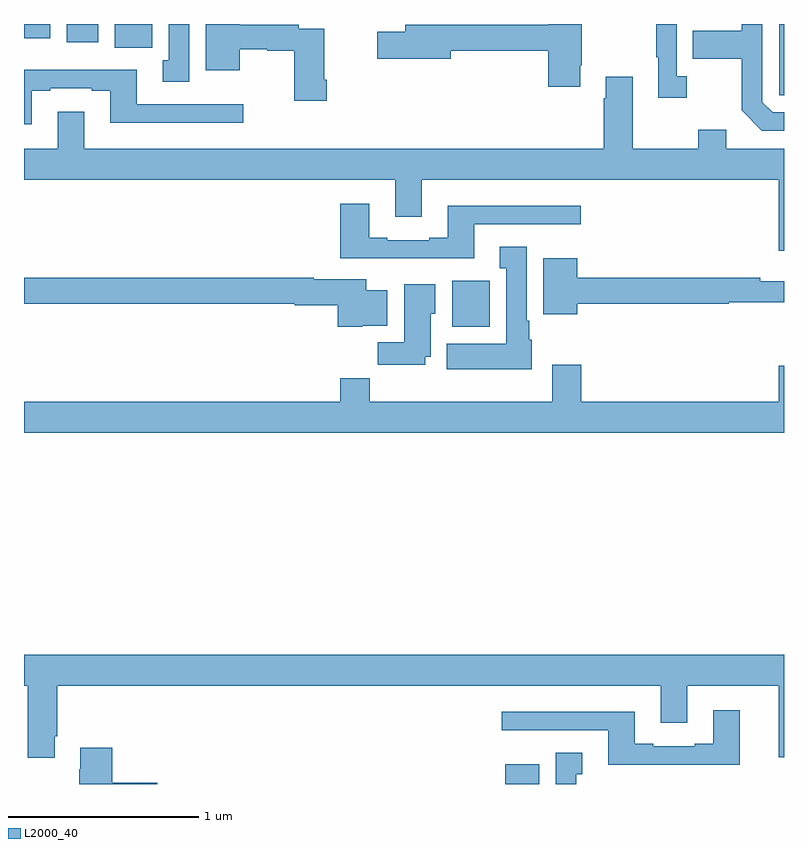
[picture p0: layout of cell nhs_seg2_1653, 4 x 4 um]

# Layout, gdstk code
import gdstk
lib = gdstk.Library(unit=1e-6, precision=1e-09)
def R(c, l, rs):  # rectangles x0, y0, x1, y1
    for r in rs: c.add(gdstk.rectangle(r[:2], r[2:], *l))
def P(c, l, *ps):  # polygons
    for p in ps: c.add(gdstk.Polygon(p, *l))
L2000_40 = (2000, 40)

nhs_seg2_1653 = lib.new_cell('nhs_seg2_1653')
R(nhs_seg2_1653, L2000_40, [(199.532,633.8,199.711,633.904), (199.253,636.206,199.45,636.448), (200.976,637.425,201,637.8), (197.477,637.676,197.674,637.8), (197.225,637.704,197.392,637.8), (197,637.724,197.137,637.8)])
P(nhs_seg2_1653, L2000_40, [(201,637.335),(200.94,637.335),(200.886,637.389),(200.886,637.8),(200.778,637.8),(200.778,637.765),(200.521,637.765),(200.521,637.618),(200.778,637.618),(200.778,637.345),(200.883,637.239),(201,637.239)],
  [(197.869,637.8),(197.762,637.8),(197.762,637.61),(197.729,637.61),(197.729,637.497),(197.869,637.497)],
  [(198.593,637.507),(198.58,637.507),(198.58,637.776),(198.446,637.776),(198.446,637.796),(198.136,637.796),(198.136,637.8),(197.957,637.8),(197.957,637.556),(198.136,637.556),(198.136,637.668),(198.279,637.668),(198.279,637.66),(198.422,637.66),(198.422,637.395),(198.593,637.395)],
  [(199.927,637.582),(199.935,637.582),(199.935,637.8),(199.76,637.8),(199.76,637.796),(199.007,637.796),(199.007,637.76),(198.858,637.76),(198.858,637.618),(199.246,637.618),(199.246,637.66),(199.76,637.66),(199.76,637.47),(199.927,637.47)],
  [(200.488,637.526),(200.436,637.526),(200.436,637.8),(200.328,637.8),(200.328,637.625),(200.339,637.625),(200.339,637.413),(200.488,637.413)],
  [(197.041,637.449),(197.137,637.449),(197.137,637.461),(197.357,637.461),(197.357,637.449),(197.453,637.449),(197.453,637.28),(198.154,637.28),(198.154,637.377),(197.593,637.377),(197.593,637.558),(197,637.558),(197,637.272),(197.041,637.272)],
  [(201,637.144),(200.695,637.144),(200.695,637.243),(200.548,637.243),(200.548,637.144),(200.203,637.144),(200.203,637.522),(200.063,637.522),(200.063,637.409),(200.051,637.409),(200.051,637.144),(197.317,637.144),(197.317,637.339),(197.177,637.339),(197.177,637.144),(197,637.144),(197,636.98),(198.953,636.98),(198.953,636.786),(199.093,636.786),(199.093,636.98),(200.972,636.98),(200.972,636.606),(201,636.606)],
  [(199.369,636.747),(199.93,636.747),(199.93,636.844),(199.229,636.844),(199.229,636.676),(199.133,636.676),(199.133,636.663),(198.913,636.663),(198.913,636.676),(198.817,636.676),(198.817,636.853),(198.665,636.853),(198.665,636.566),(199.369,636.566)],
  [(199.672,636.138),(199.66,636.138),(199.66,636.238),(199.645,636.238),(199.645,636.628),(199.505,636.628),(199.505,636.515),(199.538,636.515),(199.538,636.118),(199.226,636.118),(199.226,635.984),(199.672,635.984)],
  [(199.912,636.328),(200.708,636.328),(200.708,636.336),(201,636.336),(201,636.445),(200.876,636.445),(200.876,636.464),(199.912,636.464),(199.912,636.568),(199.733,636.568),(199.733,636.272),(199.912,636.272)],
  [(198.78,636.212),(198.913,636.212),(198.913,636.4),(198.802,636.4),(198.802,636.457),(198.526,636.457),(198.526,636.464),(197,636.464),(197,636.328),(198.426,636.328),(198.426,636.32),(198.65,636.32),(198.65,636.206),(198.78,636.206)],
  [(199.111,636.05),(199.141,636.05),(199.141,636.276),(199.165,636.276),(199.165,636.43),(199.001,636.43),(199.001,636.124),(198.862,636.124),(198.862,636.006),(199.111,636.006)],
  [(201,636.001),(200.972,636.001),(200.972,635.812),(199.934,635.812),(199.934,636.007),(199.781,636.007),(199.781,635.812),(198.821,635.812),(198.821,635.936),(198.665,635.936),(198.665,635.812),(197,635.812),(197,635.648),(201,635.648)],
  [(197.161,634.051),(197.174,634.051),(197.174,634.316),(200.351,634.316),(200.351,634.122),(200.491,634.122),(200.491,634.316),(200.972,634.316),(200.972,633.942),(201,633.942),(201,634.48),(197,634.48),(197,634.316),(197.021,634.316),(197.021,633.939),(197.161,633.939)],
  [(200.767,634.189),(200.627,634.189),(200.627,634.012),(200.531,634.012),(200.531,633.999),(200.311,633.999),(200.311,634.012),(200.215,634.012),(200.215,634.18),(199.515,634.18),(199.515,634.083),(200.075,634.083),(200.075,633.902),(200.767,633.902)],
  [(197.701,633.806),(197.465,633.806),(197.465,633.991),(197.297,633.991),(197.297,633.878),(197.29,633.878),(197.29,633.8),(197.701,633.8)],
  [(199.906,633.851),(199.939,633.851),(199.939,633.964),(199.799,633.964),(199.799,633.8),(199.906,633.8)])

lib.write_gds('nhs_seg2_1653.gds')
